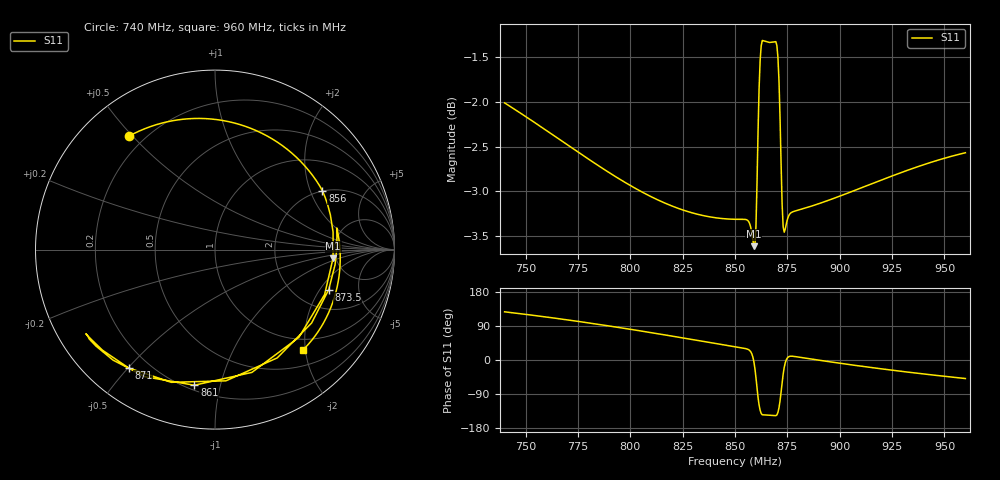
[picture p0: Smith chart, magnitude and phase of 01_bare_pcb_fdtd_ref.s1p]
! ISAC_868 Rev E.5 3D-FDTD Reference S11 at /BR_Q (1_Bare_PCB_FreeSpace (no lid))
! Reference plane: /BR_Q (includes C_M1=3.6p, L_M1=8.2n||C_MZ=0.5p, C_M2=4.3p elliptic Pi-filter)
! Unloaded AE1 f0 = 940.0 MHz | Standalone |S11(866.5)| = -0.78 dB | Cascaded |S11(866.5)| = -1.34 dB
# GHz S RI R 50.0
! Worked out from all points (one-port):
!   442 points, 740 MHz to 960 MHz, reference 50 ohm
!   lowest |S11| = -3.6 dB at 859 MHz (marker M1), VSWR 4.87, Z = 237 - j39.8 ohm
!   |S11| at or under -10 dB: nowhere
!   S11 on the Smith chart (normalised r, x): 740 MHz: 0.14, +0.49; 856 MHz: 2.00, +2.44; 861 MHz: 0.23, -0.83; 871 MHz: 0.13, -0.50; 873.5 MHz: 2.97, -2.42; 960 MHz: 0.78, -1.95
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0.74  -0.479 0.6323
0.7675  -0.2303 0.719
0.795  0.0574 0.7166
0.8225  0.3393 0.6039
0.85  0.5597 0.391
0.856  0.5989 0.326
0.8575  0.6271 0.2522
0.8585  0.6579 0.0975
0.859  0.6578 -0.0475
0.8595  0.6106 -0.2507
0.86  0.4677 -0.4886
0.8605  0.2055 -0.6842
0.861  -0.115 -0.7557
0.862  -0.568 -0.6157
0.8631  -0.7005 -0.4984
0.8695  -0.7193 -0.4684
0.8705  -0.6271 -0.5603
0.871  -0.4817 -0.659
0.872  0.0608 -0.7312
0.873  0.5381 -0.4092
0.8735  0.6329 -0.2243
0.8745  0.6786 0.0082
0.875  0.6794 0.065
0.876  0.6777 0.1133
0.8775  0.679 0.1186
0.905  0.6907 -0.1514
0.9325  0.6171 -0.385
0.96  0.489 -0.5605
